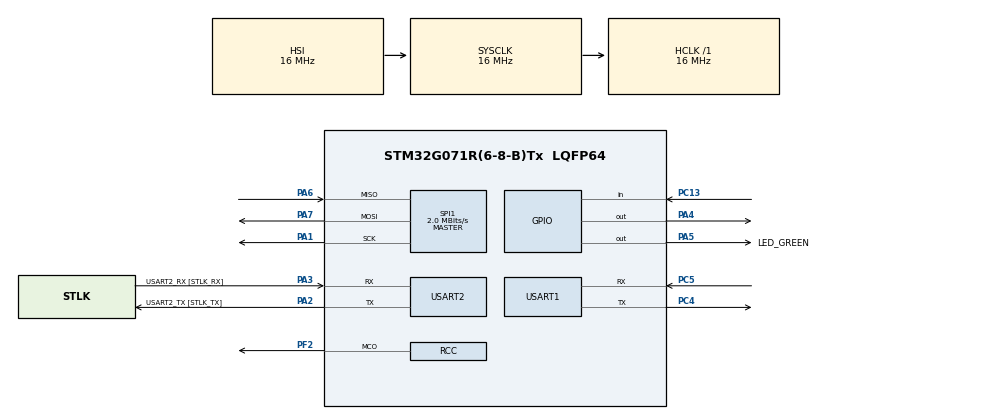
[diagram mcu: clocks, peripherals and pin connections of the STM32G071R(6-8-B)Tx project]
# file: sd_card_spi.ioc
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Dma.Request0=USART1_RX
Dma.USART1_RX.0.Direction=DMA_PERIPH_TO_MEMORY
Dma.USART1_RX.0.EventEnable=DISABLE
Dma.USART1_RX.0.Instance=DMA1_Channel1
Dma.USART1_RX.0.MemDataAlignment=DMA_MDATAALIGN_BYTE
Dma.USART1_RX.0.MemInc=DMA_MINC_ENABLE
Dma.USART1_RX.0.Mode=DMA_CIRCULAR
Dma.USART1_RX.0.PeriphDataAlignment=DMA_PDATAALIGN_BYTE
Dma.USART1_RX.0.PeriphInc=DMA_PINC_DISABLE
Dma.USART1_RX.0.Polarity=HAL_DMAMUX_REQ_GEN_RISING
Dma.USART1_RX.0.Priority=DMA_PRIORITY_LOW
Dma.USART1_RX.0.RequestNumber=1
Dma.USART1_RX.0.SignalID=NONE
Dma.USART1_RX.0.SyncEnable=DISABLE
Dma.USART1_RX.0.SyncPolarity=HAL_DMAMUX_SYNC_NO_EVENT
Dma.USART1_RX.0.SyncRequestNumber=1
Dma.USART1_RX.0.SyncSignalID=NONE
FATFS._MAX_SS=4096
Mcu.Family=STM32G0
Mcu.Name=STM32G071R(6-8-B)Tx
Mcu.Package=LQFP64
NVIC.DMA1_Channel1_IRQn=true\:0\:0\:false\:false\:true\:false\:true\:true
NVIC.SPI1_IRQn=true\:0\:0\:false\:false\:true\:true\:true\:true
NVIC.USART1_IRQn=true\:0\:0\:false\:true\:true\:1\:true\:true\:true
NVIC.USART2_IRQn=true\:0\:0\:false\:false\:true\:true\:true\:true
PA1.Mode=Full_Duplex_Master
PA1.Signal=SPI1_SCK
PA13.GPIO_Label=TMS
PA13.Mode=Serial_Wire
PA13.Signal=SYS_SWDIO
PA14-BOOT0.GPIO_Label=TCK
PA14-BOOT0.Mode=Serial_Wire
PA14-BOOT0.Signal=SYS_SWCLK
PA2.GPIO_Label=USART2_TX [STLK_TX]
PA2.GPIO_PuPd=GPIO_PULLUP
PA2.Mode=Asynchronous
PA2.Signal=USART2_TX
PA3.GPIO_Label=USART2_RX [STLK_RX]
PA3.GPIO_PuPd=GPIO_PULLUP
PA3.Mode=Asynchronous
PA3.Signal=USART2_RX
PA4.Signal=GPIO_Output
PA5.GPIO_Label=LED_GREEN
PA5.GPIO_Speed=GPIO_SPEED_FREQ_HIGH
PA5.Signal=GPIO_Output
PA6.Mode=Full_Duplex_Master
PA6.Signal=SPI1_MISO
PA7.Mode=Full_Duplex_Master
PA7.Signal=SPI1_MOSI
PC13.Signal=GPIO_Input
PC14-OSC32_IN\ (PC14).Mode=LSE-External-Oscillator
PC14-OSC32_IN\ (PC14).Signal=RCC_OSC32_IN
PC15-OSC32_OUT\ (PC15).Mode=LSE-External-Oscillator
PC15-OSC32_OUT\ (PC15).Signal=RCC_OSC32_OUT
PC4.Mode=Asynchronous
PC4.Signal=USART1_TX
PC5.Mode=Asynchronous
PC5.Signal=USART1_RX
PF0-OSC_IN\ (PF0).GPIO_Label=MCO
PF0-OSC_IN\ (PF0).Signal=RCC_OSC_IN
PF2\ -\ NRST.Mode=Clock-out
PF2\ -\ NRST.Signal=RCC_MCO
ProjectManager.HeapSize=0x200
ProjectManager.StackSize=0x400
ProjectManager.TargetToolchain=STM32CubeIDE
RCC.ADCFreq_Value=16000000
RCC.AHBFreq_Value=16000000
RCC.CortexFreq_Value=16000000
RCC.EXTERNAL_CLOCK_VALUE=12288000
RCC.HCLKFreq_Value=16000000
RCC.HSE_VALUE=8000000
RCC.HSI_VALUE=16000000
RCC.SYSCLKFreq_VALUE=16000000
RCC.VCOOutputFreq_Value=128000000
SPI1.BaudRatePrescaler=SPI_BAUDRATEPRESCALER_8
SPI1.CalculateBaudRate=2.0 MBits/s
SPI1.DataSize=SPI_DATASIZE_8BIT
SPI1.Direction=SPI_DIRECTION_2LINES
SPI1.Mode=SPI_MODE_MASTER
SPI1.VirtualType=VM_MASTER
USART1.VirtualMode-Asynchronous=VM_ASYNC
USART2.VirtualMode-Asynchronous=VM_ASYNC
VP_FATFS_VS_Generic.Mode=User_defined
VP_SYS_VS_DBSignals.Mode=DisableDeadBatterySignals
board=NUCLEO-G071RB

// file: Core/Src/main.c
/* USER CODE BEGIN Header */
/**
  ******************************************************************************
  * @file           : main.c
  * @brief          : Main program body
  ******************************************************************************
  * @attention
  *
  * Copyright (c) 2023 STMicroelectronics.
  * All rights reserved.
  *
  * This software is licensed under terms that can be found in the LICENSE file
  * in the root directory of this software component.
  * If no LICENSE file comes with this software, it is provided AS-IS.
  *
  ******************************************************************************
  */
/* USER CODE END Header */
#include "main.h"
#include "app_fatfs.h"

/* USER CODE BEGIN Includes */
#include "fatfs_sd.h"
#include "string.h"
#include "stdio.h"
#include "stdbool.h"
/* USER CODE END Includes */

 SPI_HandleTypeDef hspi1;

UART_HandleTypeDef huart1;
UART_HandleTypeDef huart2;
DMA_HandleTypeDef hdma_usart1_rx;

void SystemClock_Config(void);
static void MX_GPIO_Init(void);
static void MX_USART2_UART_Init(void);
static void MX_DMA_Init(void);
static void MX_USART1_UART_Init(void);
static void MX_SPI1_Init(void);
static void MX_NVIC_Init(void);

/* USER CODE BEGIN 0 */
uint8_t receive_buff[64];
uint8_t RxBuff[12];

FATFS fs;  // file system
FIL fil; // File
FILINFO fno;
FRESULT fresult;  // result
UINT br, bw;  // File read/write count

char buffer[1024];

/**** capacity related *****/
FATFS *pfs;
DWORD fre_clust;
uint32_t total, free_space;

void send_uart (char *string)
{
	uint8_t len = strlen (string);
	HAL_UART_Transmit(&huart2, (uint8_t *) string, len, 2000);// transmit in blocking mode
}

int bufsize (char *buf)
{
	int i=0;
	while (*buf++ != '\0') i++;
	return i;
}

void clear_buffer (void)
{
	for (int i=0; i<1024; i++)
	{
		buffer[i] = '\0';
	}
}

void USER_UART_IDLECallback(UART_HandleTypeDef *huart)
{
    HAL_UART_DMAStop(&huart1);                                                     	//stop DMA transfer
    uint8_t data_length  = 64 - __HAL_DMA_GET_COUNTER(&hdma_usart1_rx);   	//calculate received data length

    //test - return received data
//    HAL_UART_Transmit(&huart2,receive_buff,data_length,0x200);                   	//Test: transfer received data directly
    memcpy(RxBuff,receive_buff,12);
    if (RxBuff[3] == 0x83)
//    	RxFlag = TRUE;
    	memset(receive_buff,0,data_length);                                            	//clear receive buffer
    data_length = 0;
    HAL_UART_Receive_DMA(&huart1, (uint8_t*)receive_buff, 64);                    	//open DMA again
}

/* USER CODE END 0 */

int main(void)
{

  /* MCU Configuration--------------------------------------------------------*/

  /* Reset of all peripherals, Initializes the Flash interface and the Systick. */
  HAL_Init();

  /* Configure the system clock */
  SystemClock_Config();

  /* Initialize all configured peripherals */
  MX_GPIO_Init();
  MX_USART2_UART_Init();
  MX_DMA_Init();
  if (MX_FATFS_Init() != APP_OK) {
    Error_Handler();
  }
  MX_USART1_UART_Init();
  MX_SPI1_Init();

  /* Initialize interrupts */
  MX_NVIC_Init();
  /* USER CODE BEGIN 2 */
  __HAL_UART_ENABLE_IT(&huart1, UART_IT_IDLE);
  HAL_UART_Receive_DMA(&huart1, (uint8_t*)receive_buff, 64);

  //Mounting SD card
  fresult = f_mount(&fs, "/", 1);
  if (fresult != FR_OK)
	  send_uart ("ERROR!!! in mounting SD CARD...\n\n");
  else
	  send_uart("SD CARD mounted successfully...\n\n");

  //Check free space
  f_getfree("", &fre_clust, &pfs);

  total = (uint32_t)((pfs->n_fatent - 2) * pfs->csize * 0.5);
  sprintf (buffer, "SD CARD Total Size: \t%lu\n",total);
  send_uart(buffer);
  clear_buffer();
  free_space = (uint32_t)(fre_clust * pfs->csize * 0.5);
  sprintf (buffer, "SD CARD Free Space: \t%lu\n\n",free_space);
  send_uart(buffer);
  clear_buffer();

/*
  //==========The following operation is using PUTS and GETS===========

  //Open file to write/ create a file if it doesn't exist
  fresult = f_open(&fil, "file1.txt", FA_OPEN_ALWAYS | FA_READ | FA_WRITE);

  //Writing text
  f_puts("This data is from the FILE1.txt. And it was written using ...f_puts... ", &fil);

  //Close file
  fresult = f_close(&fil);

  if (fresult == FR_OK)
	  send_uart ("File1.txt created and the data is written \n");

  //Open file to read
  fresult = f_open(&fil, "file1.txt", FA_READ);

  //Read string from the file
  f_gets(buffer, f_size(&fil), &fil);

  send_uart("File1.txt is opened and it contains the data as shown below\n");
  send_uart(buffer);
  send_uart("\n\n");

  //Close file
  f_close(&fil);

  clear_buffer();
*/

/*
  //==========The following operation is using f_write and f_read==========

  //Create second file with read write access and open it
  fresult = f_open(&fil, "file2.txt", FA_CREATE_ALWAYS | FA_WRITE);

  //Writing text
  strcpy (buffer, "This is File2.txt, written using ...f_write... and it says Hello from Controllerstech\n");

  fresult = f_write(&fil, buffer, bufsize(buffer), &bw);

  send_uart ("File2.txt created and data is written\n");

  //Close file
  f_close(&fil);

  // clearing buffer to show that result obtained is from the file
  clear_buffer();

  //Open second file to read
  fresult = f_open(&fil, "file2.txt", FA_READ);
  if (fresult == FR_OK)
	  send_uart ("file2.txt is open and the data is shown below\n");

  //Read data from the file, please see the function details for the arguments
  f_read (&fil, buffer, f_size(&fil), &br);
  send_uart(buffer);
  send_uart("\n\n");

  //Close file
  f_close(&fil);

  clear_buffer();
*/

/*
  //==========UPDATING an existing file==========

  //Open the file with write access
  fresult = f_open(&fil, "file2.txt", FA_OPEN_EXISTING | FA_READ | FA_WRITE);

  //Move to offset to the end of the file
  fresult = f_lseek(&fil, f_size(&fil));

  if (fresult == FR_OK)
	  send_uart ("About to update the file2.txt\n");

  //write the string to the file
  fresult = f_puts("This is updated data and it should be in the end", &fil);

  f_close (&fil);

  clear_buffer();

  //Open to read the file
  fresult = f_open (&fil, "file2.txt", FA_READ);

  //Read string from the file
  fresult = f_read (&fil, buffer, f_size(&fil), &br);
  if (fresult == FR_OK)
	  send_uart ("Below is the data from updated file2.txt\n");
  send_uart(buffer);
  send_uart("\n\n");

  //Close file
  f_close(&fil);

  clear_buffer();

  //==========REMOVING FILES FROM THE DIRECTORY==========

  fresult = f_unlink("/file1.txt");
  if (fresult == FR_OK)
	  send_uart("file1.txt removed successfully...\n");

  fresult = f_unlink("/file2.txt");
  if (fresult == FR_OK)
	  send_uart("file2.txt removed successfully...\n");

  //Unmount SDCARD
  fresult = f_mount(NULL, "/", 1);
  if (fresult == FR_OK)
	  send_uart ("SD CARD UNMOUNTED successfully...\n");
*/

  //test code
  //Create the file with read write access and open it
  fresult = f_open(&fil, "trip.txt", FA_CREATE_ALWAYS | FA_WRITE);

  //Writing text
  strcpy (buffer, "vehicleNo meterNo startTime endTime waitTime journeyTime paidKM totalKM nonBusiness amount surCharge totalCharge\n");

  fresult = f_write(&fil, buffer, bufsize(buffer), &bw);

  send_uart ("trip.txt created and data is written\n");

  //Close file
  f_close(&fil);

  // clearing buffer to show that result obtained is from the file
  clear_buffer();
/*
  //Open the file to read
  fresult = f_open(&fil, "trip.txt", FA_READ);
  if (fresult == FR_OK)
	  send_uart ("trip.txt is open and the data is shown below\n");

  //Read data from the file, please see the function details for the arguments
  f_read (&fil, buffer, f_size(&fil), &br);
  send_uart(buffer);
  send_uart("\n\n");

  //Close file
  f_close(&fil);

  clear_buffer();
*/
  /* USER CODE END 2 */

  /* Infinite loop */
  /* USER CODE BEGIN WHILE */
  while (1)
  {
	  if ((GetPress() == 1))
	  {
		  fresult = f_open(&fil, "trip.txt", FA_OPEN_EXISTING | FA_READ | FA_WRITE);
		  fresult = f_lseek(&fil, f_size(&fil));
		  if (fresult == FR_OK)
			  send_uart ("Update the trip.txt\n");

		  fresult = f_puts("AB1234 A000001 2023-07-18 18:18:30 4.3 17.4 10.3 10.8 5.6 107.8 5 112.8\n", &fil);
		  f_close (&fil);
		  clear_buffer();

/*
		  //Open to read the file
		  fresult = f_open(&fil, "trip.txt", FA_READ);

		  //Read string from the file
		  fresult = f_read(&fil, buffer, f_size(&fil), &br);
		  if (fresult == FR_OK)
			  send_uart ("Below is the data from updated trip.txt\n");
		  send_uart(buffer);
		  send_uart("\n\n");

		  //Close file
		  f_close(&fil);
		  clear_buffer();
*/
		  send_uart("data write\n");
	  }
    /* USER CODE END WHILE */

  }
}

void SystemClock_Config(void)
{
  RCC_OscInitTypeDef RCC_OscInitStruct = {0};
  RCC_ClkInitTypeDef RCC_ClkInitStruct = {0};

  /** Configure the main internal regulator output voltage
  */
  HAL_PWREx_ControlVoltageScaling(PWR_REGULATOR_VOLTAGE_SCALE1);

  /** Initializes the RCC Oscillators according to the specified parameters
  * in the RCC_OscInitTypeDef structure.
  */
  RCC_OscInitStruct.OscillatorType = RCC_OSCILLATORTYPE_HSI;
  RCC_OscInitStruct.HSIState = RCC_HSI_ON;
  RCC_OscInitStruct.HSIDiv = RCC_HSI_DIV1;
  RCC_OscInitStruct.HSICalibrationValue = RCC_HSICALIBRATION_DEFAULT;
  RCC_OscInitStruct.PLL.PLLState = RCC_PLL_NONE;
  if (HAL_RCC_OscConfig(&RCC_OscInitStruct) != HAL_OK)
  {
    Error_Handler();
  }

  /** Initializes the CPU, AHB and APB buses clocks
  */
  RCC_ClkInitStruct.ClockType = RCC_CLOCKTYPE_HCLK|RCC_CLOCKTYPE_SYSCLK
                              |RCC_CLOCKTYPE_PCLK1;
  RCC_ClkInitStruct.SYSCLKSource = RCC_SYSCLKSOURCE_HSI;
  RCC_ClkInitStruct.AHBCLKDivider = RCC_SYSCLK_DIV1;
  RCC_ClkInitStruct.APB1CLKDivider = RCC_HCLK_DIV1;

  if (HAL_RCC_ClockConfig(&RCC_ClkInitStruct, FLASH_LATENCY_0) != HAL_OK)
  {
    Error_Handler();
  }
  HAL_RCC_MCOConfig(RCC_MCO1, RCC_MCO1SOURCE_SYSCLK, RCC_MCODIV_1);
}

/**
  * @brief NVIC Configuration.
  * @retval None
  */
static void MX_NVIC_Init(void)
{
  /* USART1_IRQn interrupt configuration */
  HAL_NVIC_SetPriority(USART1_IRQn, 0, 0);
  HAL_NVIC_EnableIRQ(USART1_IRQn);
}

static void MX_SPI1_Init(void)
{

  /* SPI1 parameter configuration*/
  hspi1.Instance = SPI1;
  hspi1.Init.Mode = SPI_MODE_MASTER;
  hspi1.Init.Direction = SPI_DIRECTION_2LINES;
  hspi1.Init.DataSize = SPI_DATASIZE_8BIT;
  hspi1.Init.CLKPolarity = SPI_POLARITY_LOW;
  hspi1.Init.CLKPhase = SPI_PHASE_1EDGE;
  hspi1.Init.NSS = SPI_NSS_SOFT;
  hspi1.Init.BaudRatePrescaler = SPI_BAUDRATEPRESCALER_8;
  hspi1.Init.FirstBit = SPI_FIRSTBIT_MSB;
  hspi1.Init.TIMode = SPI_TIMODE_DISABLE;
  hspi1.Init.CRCCalculation = SPI_CRCCALCULATION_DISABLE;
  hspi1.Init.CRCPolynomial = 7;
  hspi1.Init.CRCLength = SPI_CRC_LENGTH_DATASIZE;
  hspi1.Init.NSSPMode = SPI_NSS_PULSE_ENABLE;
  if (HAL_SPI_Init(&hspi1) != HAL_OK)
  {
    Error_Handler();
  }

}

static void MX_USART1_UART_Init(void)
{

  huart1.Instance = USART1;
  huart1.Init.BaudRate = 115200;
  huart1.Init.WordLength = UART_WORDLENGTH_8B;
  huart1.Init.StopBits = UART_STOPBITS_1;
  huart1.Init.Parity = UART_PARITY_NONE;
  huart1.Init.Mode = UART_MODE_TX_RX;
  huart1.Init.HwFlowCtl = UART_HWCONTROL_NONE;
  huart1.Init.OverSampling = UART_OVERSAMPLING_16;
  huart1.Init.OneBitSampling = UART_ONE_BIT_SAMPLE_DISABLE;
  huart1.Init.ClockPrescaler = UART_PRESCALER_DIV1;
  huart1.AdvancedInit.AdvFeatureInit = UART_ADVFEATURE_NO_INIT;
  if (HAL_UART_Init(&huart1) != HAL_OK)
  {
    Error_Handler();
  }
  if (HAL_UARTEx_SetTxFifoThreshold(&huart1, UART_TXFIFO_THRESHOLD_1_8) != HAL_OK)
  {
    Error_Handler();
  }
  if (HAL_UARTEx_SetRxFifoThreshold(&huart1, UART_RXFIFO_THRESHOLD_1_8) != HAL_OK)
  {
    Error_Handler();
  }
  if (HAL_UARTEx_DisableFifoMode(&huart1) != HAL_OK)
  {
    Error_Handler();
  }

}

static void MX_USART2_UART_Init(void)
{

  huart2.Instance = USART2;
  huart2.Init.BaudRate = 115200;
  huart2.Init.WordLength = UART_WORDLENGTH_8B;
  huart2.Init.StopBits = UART_STOPBITS_1;
  huart2.Init.Parity = UART_PARITY_NONE;
  huart2.Init.Mode = UART_MODE_TX_RX;
  huart2.Init.HwFlowCtl = UART_HWCONTROL_NONE;
  huart2.Init.OverSampling = UART_OVERSAMPLING_16;
  huart2.Init.OneBitSampling = UART_ONE_BIT_SAMPLE_DISABLE;
  huart2.Init.ClockPrescaler = UART_PRESCALER_DIV1;
  huart2.AdvancedInit.AdvFeatureInit = UART_ADVFEATURE_NO_INIT;
  if (HAL_UART_Init(&huart2) != HAL_OK)
  {
    Error_Handler();
  }
  if (HAL_UARTEx_SetTxFifoThreshold(&huart2, UART_TXFIFO_THRESHOLD_1_8) != HAL_OK)
  {
    Error_Handler();
  }
  if (HAL_UARTEx_SetRxFifoThreshold(&huart2, UART_RXFIFO_THRESHOLD_1_8) != HAL_OK)
  {
    Error_Handler();
  }
  if (HAL_UARTEx_DisableFifoMode(&huart2) != HAL_OK)
  {
    Error_Handler();
  }

}

static void MX_DMA_Init(void)
{

  /* DMA controller clock enable */
  __HAL_RCC_DMA1_CLK_ENABLE();

  /* DMA interrupt init */
  /* DMA1_Channel1_IRQn interrupt configuration */
  HAL_NVIC_SetPriority(DMA1_Channel1_IRQn, 0, 0);
  HAL_NVIC_EnableIRQ(DMA1_Channel1_IRQn);

}

static void MX_GPIO_Init(void)
{
  GPIO_InitTypeDef GPIO_InitStruct = {0};

  /* GPIO Ports Clock Enable */
  __HAL_RCC_GPIOC_CLK_ENABLE();
  __HAL_RCC_GPIOF_CLK_ENABLE();
  __HAL_RCC_GPIOA_CLK_ENABLE();

  /*Configure GPIO pin Output Level */
  HAL_GPIO_WritePin(GPIOA, GPIO_PIN_4|LED_GREEN_Pin, GPIO_PIN_RESET);

  /*Configure GPIO pin : PC13 */
  GPIO_InitStruct.Pin = GPIO_PIN_13;
  GPIO_InitStruct.Mode = GPIO_MODE_INPUT;
  GPIO_InitStruct.Pull = GPIO_NOPULL;
  HAL_GPIO_Init(GPIOC, &GPIO_InitStruct);

  /*Configure GPIO pin : PF2 */
  GPIO_InitStruct.Pin = GPIO_PIN_2;
  GPIO_InitStruct.Mode = GPIO_MODE_AF_PP;
  GPIO_InitStruct.Pull = GPIO_NOPULL;
  GPIO_InitStruct.Speed = GPIO_SPEED_FREQ_LOW;
  GPIO_InitStruct.Alternate = GPIO_AF0_MCO;
  HAL_GPIO_Init(GPIOF, &GPIO_InitStruct);

  /*Configure GPIO pin : PA4 */
  GPIO_InitStruct.Pin = GPIO_PIN_4;
  GPIO_InitStruct.Mode = GPIO_MODE_OUTPUT_PP;
  GPIO_InitStruct.Pull = GPIO_NOPULL;
  GPIO_InitStruct.Speed = GPIO_SPEED_FREQ_LOW;
  HAL_GPIO_Init(GPIOA, &GPIO_InitStruct);

  /*Configure GPIO pin : LED_GREEN_Pin */
  GPIO_InitStruct.Pin = LED_GREEN_Pin;
  GPIO_InitStruct.Mode = GPIO_MODE_OUTPUT_PP;
  GPIO_InitStruct.Pull = GPIO_NOPULL;
  GPIO_InitStruct.Speed = GPIO_SPEED_FREQ_HIGH;
  HAL_GPIO_Init(LED_GREEN_GPIO_Port, &GPIO_InitStruct);

}

/* USER CODE BEGIN 4 */
_Bool GetPress(void)
{
	if (HAL_GPIO_ReadPin(GPIOC, GPIO_PIN_13)==0)
	{
		HAL_Delay(10);
		if (HAL_GPIO_ReadPin(GPIOC, GPIO_PIN_13)==0)
		{
			while(HAL_GPIO_ReadPin(GPIOC, GPIO_PIN_13)==0)
			{;}
			return 1;
		}
		else return 0;
	}
	else return 0;
}

void USER_UART_IRQHandler(UART_HandleTypeDef *huart)
{
    if(huart->Instance == USART1)                                   //Determine whether it is serial port 1
    {
        if(RESET != __HAL_UART_GET_FLAG(&huart1, UART_FLAG_IDLE))   //Judging whether it is idle interruption
        {
            __HAL_UART_CLEAR_IDLEFLAG(&huart1);						//Clear idle interrupt sign (otherwise it will continue to enter interrupt)
            USER_UART_IDLECallback(huart);                          //Call interrupt handler
        }
    }
}

/* USER CODE END 4 */

void Error_Handler(void)
{
  __disable_irq();
  while (1)
  {
  }
}
